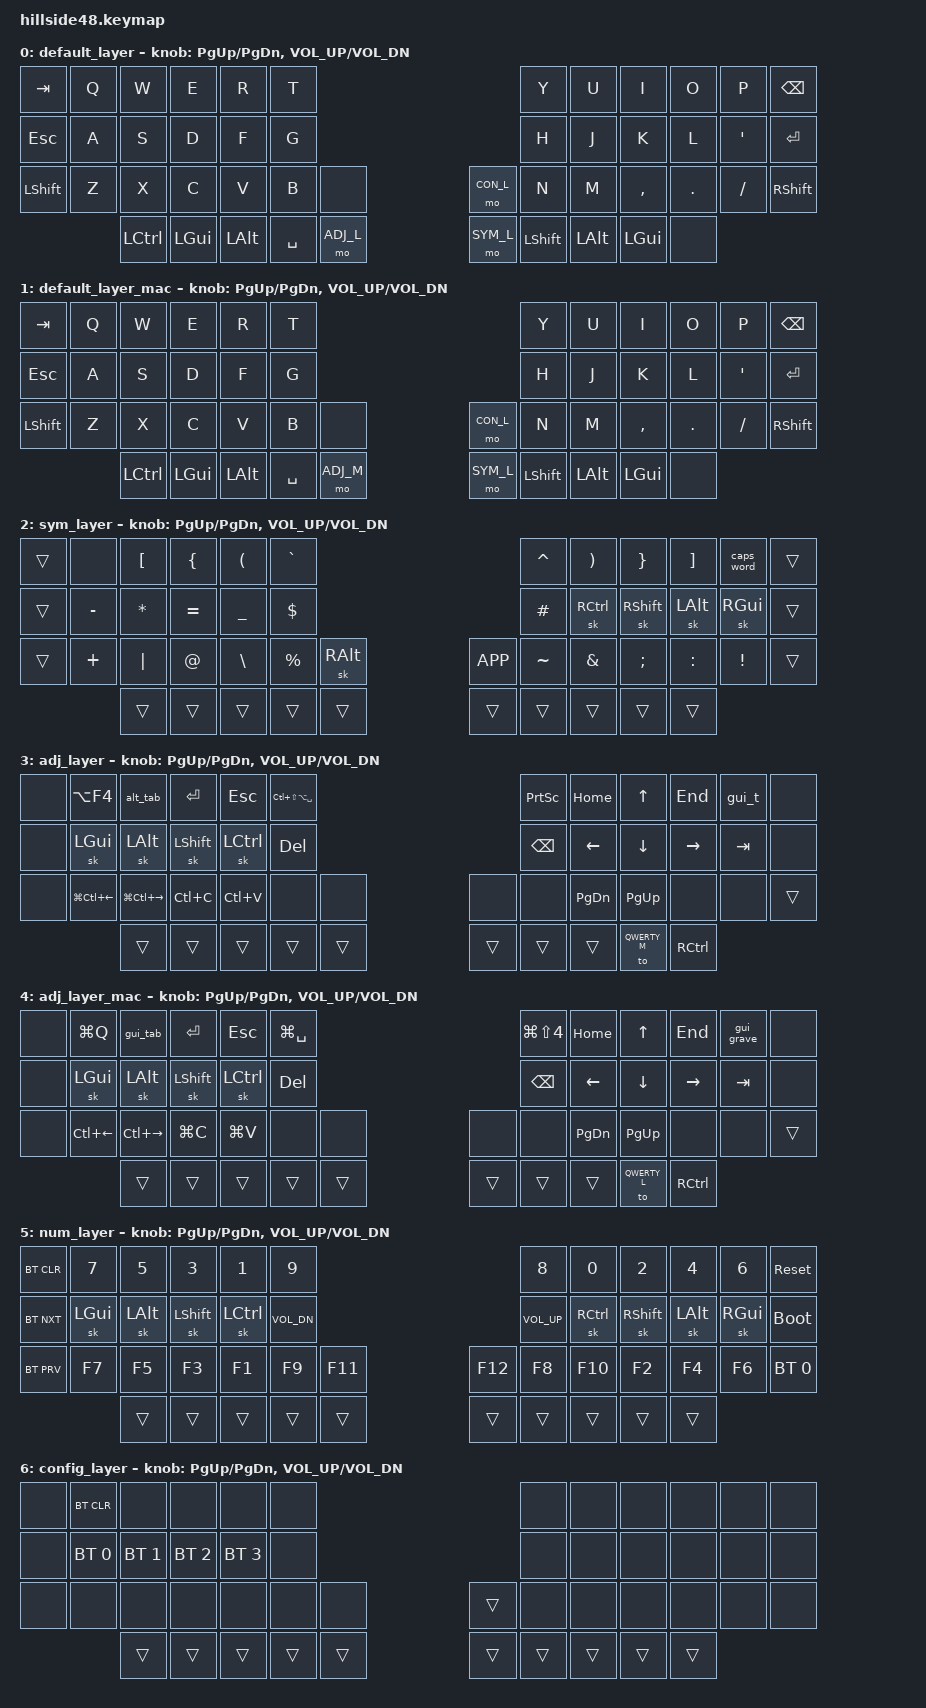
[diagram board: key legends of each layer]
/*
 * Copyright (c) 2022 The ZMK Contributors
 *
 * SPDX-License-Identifier: MIT
 */

#include <behaviors.dtsi>
#include <dt-bindings/zmk/bt.h>
#include <dt-bindings/zmk/ext_power.h>
#include <dt-bindings/zmk/keys.h>
#include <dt-bindings/zmk/outputs.h>

#define QWERTY_L 0
#define QWERTY_M 1
#define SYM_L    2
#define ADJ_L    3
#define ADJ_M    4
#define NUM_L    5
#define CON_L    6

#define Undo   LC(Z)
#define Cut    LC(X)
#define Copy   LC(C)
#define Paste  LC(V)
#define Close  LA(F4)
#define CloseM  LG(Q)
#define SPC_L  LG(LC(LEFT))
#define SPC_R  LG(LC(RIGHT))
#define PT_Run  LC(LS(LA(SPACE)))

/ {
	behaviors {
		// Swapper for smart alt+tab
		alt_tab: alt_tab {
		    compatible = "zmk,behavior-tri-state";
		    label = "ALT_TAB";
		    #binding-cells = <0>;
		    bindings = <&kt LALT>, <&kp TAB>, <&kt LALT>;
		    ignored-key-positions = <8 19 20 21 44>;
		};
		gui_t: gui_t {
		    compatible = "zmk,behavior-tri-state";
		    label = "GUI_T";
		    #binding-cells = <0>;
		    bindings = <&kt LGUI>, <&kp T>, <&kt LGUI>;
		    ignored-key-positions = <8 19 20 21 44>;
		};
		gui_tab: gui_tab {
		    compatible = "zmk,behavior-tri-state";
		    label = "GUI_TAB";
		    #binding-cells = <0>;
		    bindings = <&kt LGUI>, <&kp TAB>, <&kt LGUI>;
		    ignored-key-positions = <8 19 20 21 44>;
		};
		gui_grave: gui_grave {
		    compatible = "zmk,behavior-tri-state";
		    label = "GUI_GRAVE";
		    #binding-cells = <0>;
		    bindings = <&kt LGUI>, <&kp GRAVE>, <&kt LGUI>;
		    ignored-key-positions = <8 19 20 21 44>;
		};
	};

	conditional_layers {
		compatible = "zmk,conditional-layers";
		tri_layer {
			if-layers = <2 3>;
			then-layer = <5>;
		};
		tri_layer_mac {
			if-layers = <2 4>;
			then-layer = <5>;
		};
	};

        keymap {
                compatible = "zmk,keymap";

                default_layer {
/* QWERTY
 * -------------------------------------------------------------------------------------------------------------------------------------
 * | TAB   |   Q   |   W   |   E   |   R   |   T   |-----------------------------------|   Y   |   U   |   I   |   O   |   P   | BKSPC |
 * | ESC   |   A   |   S   |   D   |   F   |   G   |-----------------------------------|   H   |   J   |   K   |   L   |   '   | ENTER |
 * | SHIFT |   Z   |   X   |   C   |   V   |   B   | CAPS  |-------------------| Con   |   N   |   M   |   ,   |   .   |   /   | SHIFT |
 * ----------------| CTRL  |-------|  GUI  |  ALT  | SPACE |  Adj  |---|  Sym  | SPACE |  ALT  |  GUI  |-------|  n/a  |----------------
 */
                        bindings = <
&kp  TAB      &kp  Q        &kp  W        &kp  E        &kp  R        &kp  T                                                                         &kp  Y        &kp  U        &kp  I        &kp  O        &kp  P        &kp  BSPC
&kp  ESC      &kp  A        &kp  S        &kp  D        &kp  F        &kp  G                                                                         &kp  H        &kp  J        &kp  K        &kp  L        &kp  SQT      &kp  ENTER  
&kp  LSHFT    &kp  Z        &kp  X        &kp  C        &kp  V        &kp  B        &none                                              &mo  CON_L    &kp  N        &kp  M        &kp  COMMA    &kp  DOT      &kp  SLASH    &kp  RSHFT
                            &kp  LCTRL                  &kp  LGUI     &kp  LALT     &kp  SPACE    &mo  ADJ_L             &mo  SYM_L    &kp  LSHFT    &kp  LALT     &kp  LGUI                   &none   
                        >;
			
                        sensor-bindings = <&inc_dec_kp PG_UP PG_DN &inc_dec_kp C_VOL_UP C_VOL_DN>;
                };
		
                default_layer_mac {
/* QWERTY MAC
 * -------------------------------------------------------------------------------------------------------------------------------------
 * | TAB   |   Q   |   W   |   E   |   R   |   T   |-----------------------------------|   Y   |   U   |   I   |   O   |   P   | BKSPC |
 * | ESC   |   A   |   S   |   D   |   F   |   G   |-----------------------------------|   H   |   J   |   K   |   L   |   '   | ENTER |
 * | SHIFT |   Z   |   X   |   C   |   V   |   B   | CAPS  |-------------------| Con   |   N   |   M   |   ,   |   .   |   /   | SHIFT |
 * ----------------| CTRL  |-------|  GUI  |  ALT  | SPACE |  Adj  |---|  Sym  | SPACE |  ALT  |  GUI  |-------|  n/a  |----------------
 */
                        bindings = <
&kp  TAB      &kp  Q        &kp  W        &kp  E        &kp  R        &kp  T                                                                         &kp  Y        &kp  U        &kp  I        &kp  O        &kp  P        &kp  BSPC
&kp  ESC      &kp  A        &kp  S        &kp  D        &kp  F        &kp  G                                                                         &kp  H        &kp  J        &kp  K        &kp  L        &kp  SQT      &kp  ENTER  
&kp  LSHFT    &kp  Z        &kp  X        &kp  C        &kp  V        &kp  B        &none                                              &mo  CON_L    &kp  N        &kp  M        &kp  COMMA    &kp  DOT      &kp  SLASH    &kp  RSHFT
                            &kp  LCTRL                  &kp  LGUI     &kp  LALT     &kp  SPACE    &mo  ADJ_M             &mo  SYM_L    &kp  LSHFT    &kp  LALT     &kp  LGUI                   &none   
                        >;
			
                        sensor-bindings = <&inc_dec_kp PG_UP PG_DN &inc_dec_kp C_VOL_UP C_VOL_DN>;
                };
		
                sym_layer {
/* SYM -------------------------------------------------------------------------------------------------------------------------------------
 * |       |       |   [   |   {   |   (   |   `   |-----------------------------------|   ^   |   )   |   }   |   ]   |       |       |
 * |       |   -   |   *   |   =   |   _   |   $   |-----------------------------------|   #   | ctrl  | shift |  alt  |  gui  |       |
 * |       |   +   |   |   |   @   |   \   |   %   |OsAltGr|-------------------| MENU  |   ~   |   &   |   ;   |   :   |   /   |       |
 * ----------------|       |-------|       |       |       |       |---|       |       |       |       |-------| CTRL  |----------------
 */
                        bindings = <
&trans     &none         &kp  LBKT     &kp  LBRC     &kp  LPAR     &kp  GRAVE                                                                     &kp  CARET    &kp  RPAR     &kp  RBRC     &kp  RBKT     &caps_word    &trans
&trans     &kp  MINUS    &kp  ASTRK    &kp  EQUAL    &kp  UNDER    &kp  DOLLAR                                                                    &kp  HASH     &sk  RCTRL    &sk  RSHFT    &sk   LALT    &sk  RGUI     &trans
&trans     &kp  PLUS     &kp  PIPE     &kp  AT       &kp  BSLH     &kp  PERCENT  &sk  RALT                                          &kp  K_APP    &kp  TILDE    &kp  AMPS     &kp  SEMI     &kp  COLON    &kp  EXCL     &trans
			 &trans                      &trans        &trans        &trans        &trans                 &trans        &trans        &trans        &trans                      &trans    
                        >;
			
                        sensor-bindings = <&inc_dec_kp PG_UP PG_DN &inc_dec_kp C_VOL_UP C_VOL_DN>;
                };
		
                adj_layer {
/* ADJUST
 * -------------------------------------------------------------------------------------------------------------------------------------
 * |       | A(F4) | swap  | enter |  esc  | pt_run|-----------------------------------|prt scr| home  |  up   |  end  |       |       |
 * |       |  gui  |  alt  | shift | ctrl  |  del  |-----------------------------------| bspc  | left  | down  | right |  tab  |       |
 * |       | spc_l | spc_r | copy  | paste |       |       |-------------------|       |       | pg dn | pg up |       |       |       |
 * ----------------|       |-------|       |       |       |       |---|       |       |       |       |-------| CTRL  |----------------
 */
                        bindings = <
&none         &kp Close     &alt_tab      &kp ENTER     &kp ESC       &kp PT_Run                                                                 &kp PRINTSCREEN &kp HOME    &kp UP      &kp END    &gui_t   &none
&none         &sk LGUI      &sk  LALT     &sk LSHFT     &sk LCTRL     &kp  DEL                                                                   &kp BSPC        &kp LEFT    &kp DOWN    &kp RIGHT  &kp TAB  &none
&none         &kp SPC_L     &kp SPC_R     &kp Copy      &kp Paste     &none         &none                                              &none     &none           &kp PG_DN   &kp PG_UP   &none      &none    &trans
                            &trans                      &trans        &trans        &trans        &trans                 &trans        &trans    &trans          &to QWERTY_M            &kp  RCTRL   
                        >;
			
                        sensor-bindings = <&inc_dec_kp PG_UP PG_DN &inc_dec_kp C_VOL_UP C_VOL_DN>;
                };
		
                adj_layer_mac {
/* ADJUST MAC
 * -------------------------------------------------------------------------------------------------------------------------------------
 * |       | A(F4) | swap  | enter |  esc  | pt_run|-----------------------------------|prt scr| home  |  up   |  end  |       |       |
 * |       |  gui  |  alt  | shift | ctrl  |  del  |-----------------------------------| bspc  | left  | down  | right |  tab  |       |
 * |       | spc_l | spc_r | copy  | paste |       |BT CLR |-------------------|       |       | pg dn | pg up |       |       |       |
 * ----------------|       |-------|       |       |       |       |---|       |       |       |       |-------| CTRL  |----------------
 */
                        bindings = <
&none         &kp LG(Q)     &gui_tab      &kp ENTER     &kp ESC       &kp LG(SPACE)                                                              &kp LG(LS(4))   &kp HOME    &kp UP      &kp END    &gui_grave &none
&none         &sk LGUI      &sk  LALT     &sk LSHFT     &sk LCTRL     &kp  DEL                                                                   &kp BSPC        &kp LEFT    &kp DOWN    &kp RIGHT  &kp TAB    &none
&none         &kp LC(LEFT)  &kp LC(RIGHT) &kp LG(C)     &kp LG(V)     &none         &none                                              &none     &none           &kp PG_DN   &kp PG_UP   &none      &none      &trans
                            &trans                      &trans        &trans        &trans        &trans                 &trans        &trans    &trans          &to QWERTY_L            &kp  RCTRL   
                        >;
			
                        sensor-bindings = <&inc_dec_kp PG_UP PG_DN &inc_dec_kp C_VOL_UP C_VOL_DN>;
                };


                num_layer {
/* NUM   
 * -------------------------------------------------------------------------------------------------------------------------------------
 * | bt_clr|   7   |   5   |   3   |   1   |   9   |-----------------------------------|   8   |   0   |   2   |   4   |   6   | reset |
 * | bt_nxt|  gui  |  alt  | shift | ctrl  |vol dn |-----------------------------------|vol up | ctrl  | shift |  alt  |  gui  | boot  |
 * | br_prv|  F7   |  F5   |  F3   |  F1   |  F9   |  F11  |-------------------| F12   |  F8   |  f10  |  f2   |  f4   |  f6   | bt_0  |
 * ----------------|       |-------|       |       |       |       |---|       |       |       |       |-------|       |----------------
 */
                        bindings = <
&bt BT_CLR  &kp  N7       &kp  N5       &kp  N3       &kp  N1       &kp  N9                                                                        &kp  N8       &kp  N0      &kp   N2      &kp   N4      &kp  N6       &sys_reset
&bt BT_NXT  &sk  LGUI     &sk  LALT     &sk  LSHFT    &sk  LCTRL    &kp  C_VOL_DN                                                                  &kp  C_VOL_UP &sk  RCTRL   &sk   RSHFT   &sk   LALT    &sk  RGUI     &bootloader
&bt BT_PRV  &kp  F7       &kp  F5       &kp  F3       &kp  F1       &kp  F9       &kp F11                                            &kp  F12      &kp  F8       &kp  F10     &kp   F2      &kp   F4      &kp  F6       &bt BT_SEL 0
                          &trans                      &trans        &trans        &trans        &trans                 &trans        &trans        &trans        &trans                      &trans
                        >;
			
                        sensor-bindings = <&inc_dec_kp PG_UP PG_DN &inc_dec_kp C_VOL_UP C_VOL_DN>;
                };

/* CON   
 * -------------------------------------------------------------------------------------------------------------------------------------
 * |       | bt_clr|       |       |       |       |-----------------------------------|       |       |       |       |       |       |
 * |       | bt_0  | bt_1  | bt_2  | br_3  |       |-----------------------------------|       |       |       |       |       |       |
 * |       |       |       |       |       |       |       |-------------------|       |       |       |       |       |       |       |
 * ----------------|       |-------|       |       |       |       |---|       |       |       |       |-------|       |----------------
 */
		config_layer {
                        bindings = <
&none	    &bt BT_CLR    &none         &none         &none         &none                                                                          &none         &none        &none         &none         &none         &none
&none	    &bt BT_SEL 0  &bt BT_SEL 1  &bt BT_SEL 2  &bt BT_SEL 3  &none                                                                          &none         &none        &none         &none         &none         &none
&none	    &none         &none         &none         &none         &none         &none                                              &trans        &none         &none        &none         &none         &none         &none 
                          &trans                      &trans        &trans        &trans        &trans                 &trans        &trans        &trans        &trans                     &trans
                        >;
			
                        sensor-bindings = <&inc_dec_kp PG_UP PG_DN &inc_dec_kp C_VOL_UP C_VOL_DN>;
                };
        };
};
